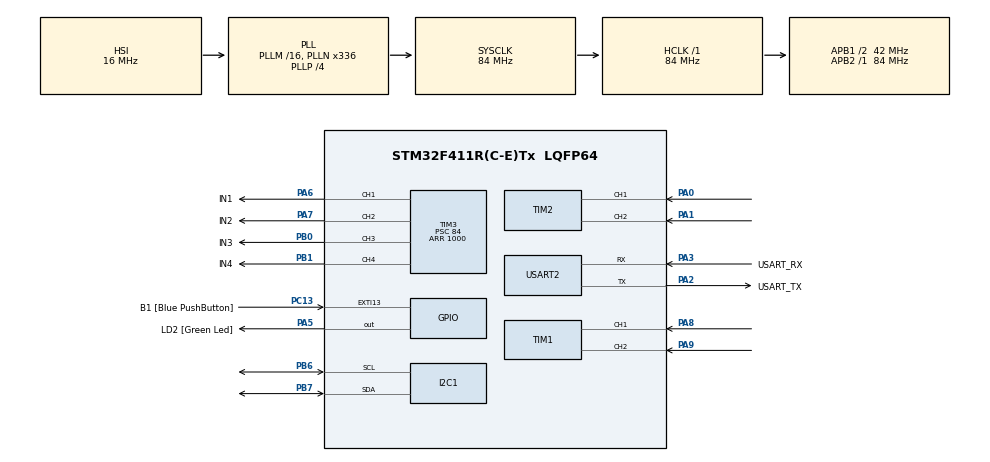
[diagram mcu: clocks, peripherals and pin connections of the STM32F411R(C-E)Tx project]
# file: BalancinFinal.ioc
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Dma.I2C1_RX.0.Direction=DMA_PERIPH_TO_MEMORY
Dma.I2C1_RX.0.FIFOMode=DMA_FIFOMODE_DISABLE
Dma.I2C1_RX.0.Instance=DMA1_Stream0
Dma.I2C1_RX.0.MemDataAlignment=DMA_MDATAALIGN_BYTE
Dma.I2C1_RX.0.MemInc=DMA_MINC_ENABLE
Dma.I2C1_RX.0.Mode=DMA_NORMAL
Dma.I2C1_RX.0.PeriphDataAlignment=DMA_PDATAALIGN_BYTE
Dma.I2C1_RX.0.PeriphInc=DMA_PINC_DISABLE
Dma.I2C1_RX.0.Priority=DMA_PRIORITY_LOW
Dma.I2C1_TX.1.Direction=DMA_MEMORY_TO_PERIPH
Dma.I2C1_TX.1.FIFOMode=DMA_FIFOMODE_DISABLE
Dma.I2C1_TX.1.Instance=DMA1_Stream1
Dma.I2C1_TX.1.MemDataAlignment=DMA_MDATAALIGN_BYTE
Dma.I2C1_TX.1.MemInc=DMA_MINC_ENABLE
Dma.I2C1_TX.1.Mode=DMA_NORMAL
Dma.I2C1_TX.1.PeriphDataAlignment=DMA_PDATAALIGN_BYTE
Dma.I2C1_TX.1.PeriphInc=DMA_PINC_DISABLE
Dma.I2C1_TX.1.Priority=DMA_PRIORITY_LOW
Dma.Request0=I2C1_RX
Dma.Request1=I2C1_TX
I2C1.I2C_Mode=I2C_Fast
Mcu.Family=STM32F4
Mcu.Name=STM32F411R(C-E)Tx
Mcu.Package=LQFP64
NVIC.DMA1_Stream0_IRQn=true\:0\:3\:false\:false\:true\:false\:true\:true
NVIC.DMA1_Stream1_IRQn=true\:0\:3\:false\:false\:true\:false\:true\:true
NVIC.I2C1_ER_IRQn=true\:0\:1\:false\:false\:true\:true\:true\:true
NVIC.I2C1_EV_IRQn=true\:0\:1\:false\:false\:true\:true\:true\:true
NVIC.PriorityGroup=NVIC_PRIORITYGROUP_0
NVIC.TIM1_UP_TIM10_IRQn=true\:0\:0\:false\:false\:true\:true\:true\:true
NVIC.TIM5_IRQn=true\:0\:0\:false\:false\:true\:true\:true\:true
PA0-WKUP.Signal=S_TIM2_CH1_ETR
PA1.Signal=S_TIM2_CH2
PA13.GPIO_Label=TMS
PA13.Mode=Serial_Wire
PA13.Signal=SYS_JTMS-SWDIO
PA14.GPIO_Label=TCK
PA14.Mode=Serial_Wire
PA14.Signal=SYS_JTCK-SWCLK
PA2.GPIO_Label=USART_TX
PA2.Mode=Asynchronous
PA2.Signal=USART2_TX
PA3.GPIO_Label=USART_RX
PA3.Mode=Asynchronous
PA3.Signal=USART2_RX
PA5.GPIO_Label=LD2 [Green Led]
PA5.Signal=GPIO_Output
PA6.GPIO_Label=IN1
PA6.Signal=S_TIM3_CH1
PA7.GPIO_Label=IN2
PA7.Signal=S_TIM3_CH2
PA8.Signal=S_TIM1_CH1
PA9.Signal=S_TIM1_CH2
PB0.GPIO_Label=IN3
PB0.Signal=S_TIM3_CH3
PB1.GPIO_Label=IN4
PB1.Signal=S_TIM3_CH4
PB3.GPIO_Label=SWO
PB3.Signal=SYS_JTDO-SWO
PB6.Mode=I2C
PB6.Signal=I2C1_SCL
PB7.Mode=I2C
PB7.Signal=I2C1_SDA
PC13-ANTI_TAMP.GPIO_Label=B1 [Blue PushButton]
PC13-ANTI_TAMP.GPIO_ModeDefaultEXTI=GPIO_MODE_IT_FALLING
PC13-ANTI_TAMP.Signal=GPXTI13
PC14-OSC32_IN.Mode=LSE-External-Oscillator
PC14-OSC32_IN.Signal=RCC_OSC32_IN
PC15-OSC32_OUT.Mode=LSE-External-Oscillator
PC15-OSC32_OUT.Signal=RCC_OSC32_OUT
PH0\ -\ OSC_IN.Mode=HSE-External-Clock-Source
PH0\ -\ OSC_IN.Signal=RCC_OSC_IN
PH1\ -\ OSC_OUT.Mode=HSE-External-Clock-Source
PH1\ -\ OSC_OUT.Signal=RCC_OSC_OUT
ProjectManager.HeapSize=0x200
ProjectManager.StackSize=0x400
ProjectManager.TargetToolchain=STM32CubeIDE
RCC.48MHZClocksFreq_Value=84000000
RCC.AHBFreq_Value=84000000
RCC.APB1CLKDivider=RCC_HCLK_DIV2
RCC.APB1Freq_Value=42000000
RCC.APB1TimFreq_Value=84000000
RCC.APB2Freq_Value=84000000
RCC.APB2TimFreq_Value=84000000
RCC.CortexFreq_Value=84000000
RCC.FLatency-AdvancedSettings=FLASH_LATENCY_2
RCC.HCLKFreq_Value=84000000
RCC.HSE_VALUE=8000000
RCC.HSI_VALUE=16000000
RCC.PLLN=336
RCC.PLLP=RCC_PLLP_DIV4
RCC.SYSCLKFreq_VALUE=84000000
RCC.SYSCLKSource=RCC_SYSCLKSOURCE_PLLCLK
RCC.VCOOutputFreq_Value=336000000
SH.S_TIM1_CH1.0=TIM1_CH1,Encoder_Interface
SH.S_TIM1_CH2.0=TIM1_CH2,Encoder_Interface
SH.S_TIM2_CH1_ETR.0=TIM2_CH1,Encoder_Interface
SH.S_TIM2_CH2.0=TIM2_CH2,Encoder_Interface
SH.S_TIM3_CH1.0=TIM3_CH1,PWM Generation1 CH1
SH.S_TIM3_CH2.0=TIM3_CH2,PWM Generation2 CH2
SH.S_TIM3_CH3.0=TIM3_CH3,PWM Generation3 CH3
SH.S_TIM3_CH4.0=TIM3_CH4,PWM Generation4 CH4
TIM1.EncoderMode=TIM_ENCODERMODE_TI12
TIM2.EncoderMode=TIM_ENCODERMODE_TI12
TIM3.Channel-PWM\ Generation1\ CH1=TIM_CHANNEL_1
TIM3.Channel-PWM\ Generation2\ CH2=TIM_CHANNEL_2
TIM3.Channel-PWM\ Generation3\ CH3=TIM_CHANNEL_3
TIM3.Channel-PWM\ Generation4\ CH4=TIM_CHANNEL_4
TIM3.Period=1000
TIM3.Prescaler=84
TIM5.Period=100-1
TIM5.Prescaler=8400-1
USART2.VirtualMode=VM_ASYNC
VP_TIM5_VS_ClockSourceINT.Mode=Internal
board=NUCLEO-F411RE

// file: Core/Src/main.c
/* USER CODE BEGIN Header */
/**
  ******************************************************************************
  * @file           : main.c
  * @brief          : Main program body
  ******************************************************************************
  * @attention
  *
  * Copyright (c) 2026 STMicroelectronics.
  * All rights reserved.
  *
  * This software is licensed under terms that can be found in the LICENSE file
  * in the root directory of this software component.
  * If no LICENSE file comes with this software, it is provided AS-IS.
  *
  ******************************************************************************
  */
/* USER CODE END Header */
#include "main.h"
#include "dma.h"
#include "i2c.h"
#include "tim.h"
#include "usart.h"
#include "gpio.h"

/* USER CODE BEGIN Includes */
#include "mpu9250.h"
#include "kalman.h"
#include <stdio.h>
#include <math.h>
/* USER CODE END Includes */

/* USER CODE BEGIN PV */
static uint16_t prev_contador_u16 = 0;
static uint32_t prev_contador_u32_2 = 0;
float vel=0.0;
float vel_2=0.0;
float setpoint = 0.0;
float error= 0.0;
float sumae = 0.0;
float control=0.0;

volatile float setpoint_2 = 0.0;
float error_2= 0.0;
float sumae_2 = 0.0;
float control_2=0.0;

volatile float setpoint_ang=0.0;
float error_ang= 0.0;
float sumae_ang = 0.0;
float control_ang=0.0;
float error_ang_pas=0.0;
float derivada=0.0;

//Control angulo
float Kp_ang=6.0;
float Kd_ang=0.1;

//Control vel
float Kp=50.0;//50
float Ki=300.0; //500 300 jala bien
float Kd=0.01; //mete mas oscilaciones
volatile float angulo = 0.0f;
float sat = 0.0;

//Control Pos
float pos_1 = 0.0f;   // posición integrada motor 1
float pos_2 = 0.0f;   // posición integrada motor 2
float Kp_pos = 0.1f;

/* USER CODE END PV */

void SystemClock_Config(void);

/* USER CODE BEGIN 0 */
int __io_putchar(int ch) {
    HAL_UART_Transmit(&huart2, (uint8_t*)&ch, 1, HAL_MAX_DELAY);
    return ch;
}
/* USER CODE END 0 */

int main(void)
{

  /* MCU Configuration--------------------------------------------------------*/

  /* Reset of all peripherals, Initializes the Flash interface and the Systick. */
  HAL_Init();

  /* Configure the system clock */
  SystemClock_Config();

  /* Initialize all configured peripherals */
  MX_GPIO_Init();
  MX_DMA_Init();
  MX_I2C1_Init();
  MX_TIM1_Init();
  MX_TIM2_Init();
  MX_TIM3_Init();
  MX_USART2_UART_Init();
  MX_TIM5_Init();
  /* USER CODE BEGIN 2 */

  /* --- Arrancar encoders (TIM1 = Motor1, TIM2 = Motor2) --- */
  HAL_TIM_Encoder_Start(&htim1, TIM_CHANNEL_ALL);
  HAL_TIM_Encoder_Start(&htim2, TIM_CHANNEL_ALL);

  /* --- Arrancar PWM --- */
  HAL_TIM_Base_Start(&htim3);
  HAL_TIM_PWM_Start(&htim3, TIM_CHANNEL_1);
  HAL_TIM_PWM_Start(&htim3, TIM_CHANNEL_2);
  HAL_TIM_PWM_Start(&htim3, TIM_CHANNEL_3);
  HAL_TIM_PWM_Start(&htim3, TIM_CHANNEL_4);

  /* Motores apagados al inicio */
  __HAL_TIM_SET_COMPARE(&htim3, TIM_CHANNEL_1, 0);
  __HAL_TIM_SET_COMPARE(&htim3, TIM_CHANNEL_2, 0);
  __HAL_TIM_SET_COMPARE(&htim3, TIM_CHANNEL_3, 0);
  __HAL_TIM_SET_COMPARE(&htim3, TIM_CHANNEL_4, 0);

  HAL_Delay(200);
  /* Inicialización bloqueante del MPU */
  mpu9250_init();

  accel_data accel;
  gyro_data  gyro;

  /* Leer ángulo inicial para Kalman */
  mpu9250_parse(&accel, &gyro);

  KalmanFilter kf_pitch;
  kalman_init(&kf_pitch, accel.pitch_angle);

  angulo = accel.pitch_angle;

  uint32_t t_anterior   = HAL_GetTick();
  uint32_t muestra      = 0;
  float    pitch_kalman = accel.pitch_angle;

  /* Dispara la primera lectura DMA ANTES de arrancar TIM5.
   * Cuando TIM5 empiece, ya habrá un dato listo o en camino. */
  mpu9250_request_dma();

  /* Arrancar TIM5  */
  HAL_TIM_Base_Start_IT(&htim5);

  /* USER CODE END 2 */

  /* Infinite loop */
  while (1)
  {

    /* USER CODE BEGIN 3 */
      /*
       * Patrón DMA no-bloqueante:
       *
       * 1. Comprobamos el flag (puesto por HAL_I2C_MemRxCpltCallback).
       * 2. Si hay dato nuevo: parsear + Kalman + actualizar angulo.
       * 3. Inmediatamente disparamos la siguiente lectura DMA.
       * 4. La CPU queda libre para el printf y cualquier otra tarea.
       *
       * La ISR del TIM5 solo lee 'angulo' — nunca espera ni dispara I2C.
       */
      if (mpu_dma_ready)
      {
          mpu_dma_ready = 0;   /* limpiar flag*/

          uint32_t t_ahora = HAL_GetTick();
          float dt = (float)(t_ahora - t_anterior) / 1000.0f;
          t_anterior = t_ahora;

          if (dt <= 0.0f || dt > 0.5f) dt = 0.01f;

          /* Convertir buffer raw a structs */
          mpu9250_parse(&accel, &gyro);

          /* Actualizar Kalman */
          pitch_kalman = kalman_update(&kf_pitch,
                                        accel.pitch_angle,
                                        gyro.y_val,
                                        dt);

          /* Actualizar variable global*/
          __disable_irq();
          angulo = pitch_kalman;
          __enable_irq();

          muestra++;

          /* Se dispara siguiente lectura DMA */
          mpu9250_request_dma();
      }

      /*
       * mientras UART transmite, DMA sigue llenando mpu_rx_buf */
      printf("%5lu | Kalman:%7.2f | controlA:%6.1f  controlB:%6.1f\r\n", muestra, pitch_kalman, control, control_2);

  } /* fin while */
  /* USER CODE END 3 */
}

void SystemClock_Config(void)
{
  RCC_OscInitTypeDef RCC_OscInitStruct = {0};
  RCC_ClkInitTypeDef RCC_ClkInitStruct = {0};

  /** Configure the main internal regulator output voltage
  */
  __HAL_RCC_PWR_CLK_ENABLE();
  __HAL_PWR_VOLTAGESCALING_CONFIG(PWR_REGULATOR_VOLTAGE_SCALE1);

  /** Initializes the RCC Oscillators according to the specified parameters
  * in the RCC_OscInitTypeDef structure.
  */
  RCC_OscInitStruct.OscillatorType = RCC_OSCILLATORTYPE_HSI;
  RCC_OscInitStruct.HSIState = RCC_HSI_ON;
  RCC_OscInitStruct.HSICalibrationValue = RCC_HSICALIBRATION_DEFAULT;
  RCC_OscInitStruct.PLL.PLLState = RCC_PLL_ON;
  RCC_OscInitStruct.PLL.PLLSource = RCC_PLLSOURCE_HSI;
  RCC_OscInitStruct.PLL.PLLM = 16;
  RCC_OscInitStruct.PLL.PLLN = 336;
  RCC_OscInitStruct.PLL.PLLP = RCC_PLLP_DIV4;
  RCC_OscInitStruct.PLL.PLLQ = 4;
  if (HAL_RCC_OscConfig(&RCC_OscInitStruct) != HAL_OK)
  {
    Error_Handler();
  }

  /** Initializes the CPU, AHB and APB buses clocks
  */
  RCC_ClkInitStruct.ClockType = RCC_CLOCKTYPE_HCLK|RCC_CLOCKTYPE_SYSCLK
                              |RCC_CLOCKTYPE_PCLK1|RCC_CLOCKTYPE_PCLK2;
  RCC_ClkInitStruct.SYSCLKSource = RCC_SYSCLKSOURCE_PLLCLK;
  RCC_ClkInitStruct.AHBCLKDivider = RCC_SYSCLK_DIV1;
  RCC_ClkInitStruct.APB1CLKDivider = RCC_HCLK_DIV2;
  RCC_ClkInitStruct.APB2CLKDivider = RCC_HCLK_DIV1;

  if (HAL_RCC_ClockConfig(&RCC_ClkInitStruct, FLASH_LATENCY_2) != HAL_OK)
  {
    Error_Handler();
  }
}

/* USER CODE BEGIN 4 */
void HAL_TIM_PeriodElapsedCallback(TIM_HandleTypeDef *htim)
{
    if (htim->Instance == TIM5)
    {
        float ang_local = angulo;

        //============
        // Lectura de encoders
        //============

        // --- Encoder 1 ---
        uint16_t contador_actual = __HAL_TIM_GET_COUNTER(&htim1);
        int16_t delta_cuenta = (int16_t)(contador_actual - prev_contador_u16);
        prev_contador_u16 = contador_actual;
        float deltapos = 0.00261799f * (float)delta_cuenta;
        vel = deltapos / 0.01f;

        // --- Encoder 2 ---
        uint32_t contador_actual_2 = __HAL_TIM_GET_COUNTER(&htim2);
        int32_t delta_cuenta_2 = (int32_t)(contador_actual_2 - prev_contador_u32_2);
        prev_contador_u32_2 = contador_actual_2;
        float deltapos_2 = 0.00261799f * (float)delta_cuenta_2;
        vel_2 = deltapos_2 / 0.01f;

        //===============
        // Acumular posición
        //================
        pos_1 += deltapos;
        pos_2 += deltapos_2;

        // Promedio de posición (Motor2 gira al revés, por eso se resta)
        float pos_promedio = (pos_1 - pos_2) / 2.0f;

        //==========
        // setpoint_ang dinámico
        //============
        setpoint_ang = -Kp_pos * pos_promedio;

        // Saturación
        if (setpoint_ang >  3.0f) setpoint_ang =  3.0f;
        if (setpoint_ang < -3.0f) setpoint_ang = -3.0f;

        //==============
        // Control de angulo (PD)
        //=============
        error_ang = setpoint_ang - ang_local;
        if (fabs(error_ang) <= 0.5f) error_ang = 0.0f;

        derivada = (error_ang - error_ang_pas) / 0.01f;
        error_ang_pas = error_ang;
        control_ang = Kp_ang * error_ang + Kd_ang * derivada;

        // Setpoints de velocidad para cada motor
        if (control_ang > 0.0f) {
            setpoint   = -(control_ang >  8.0f ?  8.0f : control_ang);
            setpoint_2 =  (control_ang >  8.0f ?  8.0f : control_ang);
        } else {
            setpoint   = -(control_ang < -8.0f ? -8.0f : control_ang);
            setpoint_2 =  (control_ang < -8.0f ? -8.0f : control_ang);
        }

        //================
        // Control de velocidad Motor 1
        //=================
        error = setpoint - vel;
        sat = 1000.0f / Ki;
        sumae += error * 0.01f;
        if (sumae >  sat) sumae =  sat;
        if (sumae < -sat) sumae = -sat;
        control = Kp * error + Ki * sumae;

        if (control > 1000.0f)  control =  1000.0f;
        if (control < -1000.0f) control = -1000.0f;

        if (control >= 0.0f) {
            __HAL_TIM_SET_COMPARE(&htim3, TIM_CHANNEL_1, control);
            __HAL_TIM_SET_COMPARE(&htim3, TIM_CHANNEL_2, 0.0f);
        } else {
            __HAL_TIM_SET_COMPARE(&htim3, TIM_CHANNEL_1, 0.0f);
            __HAL_TIM_SET_COMPARE(&htim3, TIM_CHANNEL_2, fabs(control));
        }

        //================
        // Control de velocidad Motor 2
        //================
        error_2 = setpoint_2 - vel_2;
        sumae_2 += error_2 * 0.01f;
        if (sumae_2 >  sat) sumae_2 =  sat;
        if (sumae_2 < -sat) sumae_2 = -sat;
        control_2 = Kp * error_2 + Ki * sumae_2;

        if (control_2 > 1000.0f)  control_2 =  1000.0f;
        if (control_2 < -1000.0f) control_2 = -1000.0f;

        if (control_2 >= 0.0f) {
            __HAL_TIM_SET_COMPARE(&htim3, TIM_CHANNEL_3, control_2);
            __HAL_TIM_SET_COMPARE(&htim3, TIM_CHANNEL_4, 0.0f);
        } else {
            __HAL_TIM_SET_COMPARE(&htim3, TIM_CHANNEL_3, 0.0f);
            __HAL_TIM_SET_COMPARE(&htim3, TIM_CHANNEL_4, fabs(control_2));
        }
    }
}
/* USER CODE END 4 */

void Error_Handler(void)
{
  __disable_irq();
  while (1)
  {
  }
}
